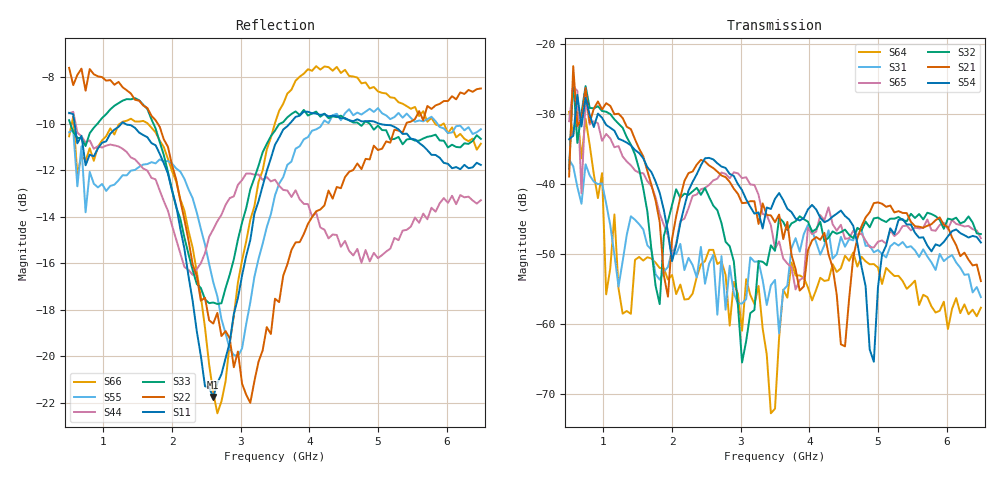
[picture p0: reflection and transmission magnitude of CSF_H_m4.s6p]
!Keysight Technologies,M9804A,MY58100912,A.14.10.03
!Date: Thursday, April 27, 2023 10:28:33
!Correction: S11(C  6-Port  )
!S12(C  6-Port  )
!S13(C  6-Port  )
!S14(C  6-Port  )
!S15(C  6-Port  )
!S16(C  6-Port  )
!S21(C  6-Port  )
!S22(C  6-Port  )
!S23(C  6-Port  )
!S24(C  6-Port  )
!S25(C  6-Port  )
!S26(C  6-Port  )
!S31(C  6-Port  )
!S32(C  6-Port  )
!S33(C  6-Port  )
!S34(C  6-Port  )
!S35(C  6-Port  )
!S36(C  6-Port  )
!S41(C  6-Port  )
!S42(C  6-Port  )
!S43(C  6-Port  )
!S44(C  6-Port  )
!S45(C  6-Port  )
!S46(C  6-Port  )
!S51(C  6-Port  )
!S52(C  6-Port  )
!S53(C  6-Port  )
!S54(C  6-Port  )
!S55(C  6-Port  )
!S56(C  6-Port  )
!S61(C  6-Port  )
!S62(C  6-Port  )
!S63(C  6-Port  )
!S64(C  6-Port  )
!S65(C  6-Port  )
!S66(C  6-Port  )
!S6P File: Measurement: :
# Hz S  RI  R 50
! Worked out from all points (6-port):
!   101 points, 500 MHz to 6.5 GHz, reference 50 ohm
!   strongest paths, dB at 500 MHz, 2 GHz, 3.5 GHz, 5 GHz, 6.5 GHz:
!     S54: -33.6, -51.0, -42.1, -54.8, -48.4
!     S21: -38.9, -47.8, -45.5, -42.6, -53.9
!     S32: -37.8, -43.0, -49.6, -44.8, -47.2
!     S65: -31.0, -50.3, -49.2, -48.2, -47.8
!     S31: -36.5, -49.5, -53.7, -49.4, -56.2
!     S64: -29.7, -53.0, -72.1, -52.0, -57.7
!   lowest |S11| = -21.7 dB at 2.6 GHz (marker M1), VSWR 1.18, Z = 42.7 + j1.98 ohm
!   |S11| at or under -10 dB: 579.3 MHz to 1.262 GHz (683.1 MHz wide, 74.2 % of centre); 1.315 GHz to 3.715 GHz (2.4 GHz wide, 95.5 % of centre); 5.017 GHz to end of sweep
